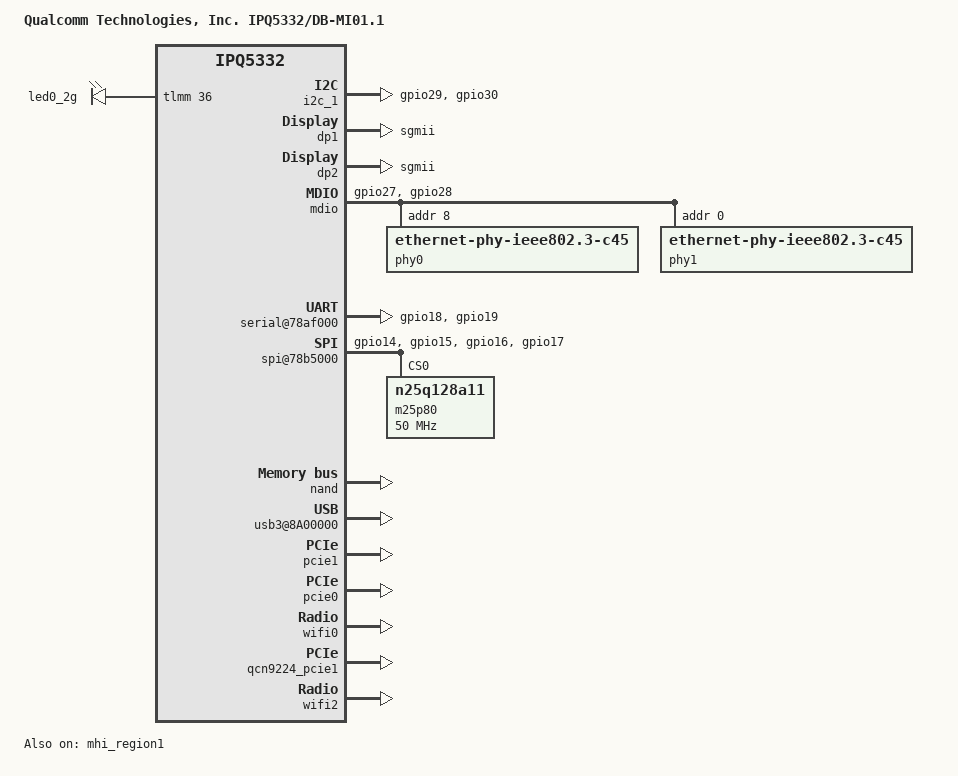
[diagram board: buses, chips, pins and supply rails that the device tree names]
// SPDX-License-Identifier: (GPL-2.0+ OR BSD-3-Clause)
/*
 * IPQ5332 DB-MI01.1 board device tree source
 *
 * Copyright (c) 2020-2021 The Linux Foundation. All rights reserved.
 * Copyright (c) 2022-2023 Qualcomm Innovation Center, Inc. All rights reserved.
 */

/dts-v1/;

#include "ipq5332.dtsi"

#ifdef __IPQ_MEM_PROFILE_512_MB__
#include "ipq5332-512MB-memory.dtsi"
#else
#include "ipq5332-default-memory.dtsi"
#endif

/ {
	#address-cells = <0x2>;
	#size-cells = <0x2>;
	model = "Qualcomm Technologies, Inc. IPQ5332/DB-MI01.1";
	compatible = "qcom,ipq5332-db-mi01.1", "qcom,ipq5332";
	interrupt-parent = <&intc>;

	aliases {
		serial0 = &blsp1_uart0;
		ethernet0 = "/soc/dp1";
		ethernet1 = "/soc/dp2";
	};

	chosen {
		stdout-path = "serial0";
		bootargs-append = " clk_ignore_unused";
	};

	soc {
		pinctrl@1000000 {
			spi_0_pins: spi0-pinmux {
				spi_clock {
					pins = "gpio14";
					function = "blsp0_spi";
					drive-strength = <8>;
					bias-pull-down;
				};

				spi_mosi {
					pins = "gpio15";
					function = "blsp0_spi";
					drive-strength = <8>;
					bias-pull-down;
				};

				spi_miso {
					pins = "gpio16";
					function = "blsp0_spi";
					drive-strength = <8>;
					bias-pull-down;
				};

				spi_cs {
					pins = "gpio17";
					function = "blsp0_spi";
					drive-strength = <8>;
					bias-pull-up;
				};
			};

			serial_0_pins: serial0-pinmux {
				pins = "gpio18", "gpio19";
				function = "blsp0_uart0";
				drive-strength = <8>;
				bias-pull-up;
			};

			leds_pins: leds_pinmux {
				led0_2g {
					pins = "gpio36";
					function = "gpio";
					drive-strength = <8>;
					bias-pull-down;
				};
			};

			i2c_1_pins: i2c-1-pinmux {
				pins = "gpio29", "gpio30";
				function = "blsp1_i2c0";
				drive-strength = <8>;
				bias-pull-up;
			};

			mdio1_pins: mdio_pinmux {
				mux_0 {
					pins = "gpio27";
					function = "mdc1";
					drive-strength = <8>;
					bias-disable;
				};
				mux_1 {
					pins = "gpio28";
					function = "mdio1";
					drive-strength = <8>;
					bias-pull-up;
				};
			};
		};

		i2c_1: i2c@78b6000 {
			pinctrl-0 = <&i2c_1_pins>;
			pinctrl-names = "default";
			status = "ok";
		};

		dp1 {
			device_type = "network";
			compatible = "qcom,nss-dp";
			qcom,id = <2>;
			reg = <0x3a504000 0x4000>;
			qcom,mactype = <1>;
			local-mac-address = [000000000000];
			qcom,phy-mdio-addr = <0>;
			qcom,link-poll = <1>;
			phy-mode = "sgmii";
		};

		dp2 {
			device_type = "network";
			compatible = "qcom,nss-dp";
			qcom,id = <1>;
			reg = <0x3a500000 0x4000>;
			qcom,mactype = <1>;
			local-mac-address = [000000000000];
			qcom,phy-mdio-addr = <8>;
			qcom,link-poll = <1>;
			phy-mode = "sgmii";
			qcom,ppe-offload-disabled = <1>;
			qcom,mht-dev = <1>;
		};

		mdio:mdio@90000 {
			status = "ok";
			pinctrl-0 = <&mdio1_pins>;
			pinctrl-names = "default";
			/*gpio22 and gpio24 for aqr reset*/
			//phy-reset-gpio = <&tlmm 22 0 &tlmm 24 0>;

			phy0: ethernet-phy@0 {
				reg = <8>;
				compatible ="ethernet-phy-ieee802.3-c45";
			};
			phy1: ethernet-phy@1 {
				reg = <0>;
				compatible ="ethernet-phy-ieee802.3-c45";
			};
		};

		ess-instance {
			ess-switch@3a000000 {
				switch_cpu_bmp = <0x1>;  /* cpu port bitmap */
				switch_lan_bmp = <0x2>; /* lan port bitmap */
				switch_wan_bmp = <0x4>; /* wan port bitmap */
				switch_mac_mode = <0xd>; /* mac mode for uniphy instance0*/
				switch_mac_mode1 = <0xd>; /* mac mode for uniphy instance1*/
				switch_mac_mode2 = <0xff>; /* mac mode for uniphy instance2*/
				qcom,port_phyinfo {
					port@0 {
						port_id = <1>;
						phy_address = <8>;
						ethernet-phy-ieee802.3-c45;
					};
					port@1 {
						port_id = <2>;
						phy_address = <0>;
						ethernet-phy-ieee802.3-c45;
					};
				};
			};
		};

		/* EDMA host driver configuration for the board */
		edma@3ab00000 {
			qcom,txdesc-ring-start = <4>;		/* Tx desc ring start ID */
			qcom,txdesc-rings = <12>;		/* Total number of Tx desc rings to be provisioned */
			qcom,mht-txdesc-rings = <8>;            /* Extra Tx desc rings to be provisioned for MHT SW ports. */
			qcom,txcmpl-ring-start = <4>;		/* Tx complete ring start ID */
			qcom,txcmpl-rings = <12>;		/* Total number of Tx complete rings to be provisioned */
			qcom,mht-txcmpl-rings = <8>;		/* Extra Tx complete rings to be provisioned for mht sw ports. */
			qcom,rxfill-ring-start = <4>;		/* Rx fill ring start ID */
			qcom,rxfill-rings = <4>;		/* Total number of Rx fill rings to be provisioned */
			qcom,rxdesc-ring-start = <12>;		/* Rx desc ring start ID */
			qcom,rxdesc-rings = <4>;		/* Total number of Rx desc rings to be provisioned */
			qcom,rx-page-mode = <0>;		/* Rx fill ring page mode */
			qcom,tx-map-priority-level = <1>;	/* Tx priority level per port */
			qcom,rx-map-priority-level = <1>;	/* Rx priority level per core */
			qcom,ppeds-num = <2>;			/* Number of PPEDS nodes */
			/* PPE-DS node format: <Rx-fill Tx-cmpl Rx Tx Queue-base Queue-count> */
			qcom,ppeds-map = <1 1 1 1 32 8>,	/* PPEDS Node #1 ring and queue map */
					<2 2 2 2 40 8>;		/* PPEDS Node #2 ring and queue map */
			qcom,txdesc-map = <8 9 10 11>,		/* Port0 per-core Tx ring map */
					  <12 13 14 15>,	/* MHT-Port1 per-core Tx ring map */
					  <4 5 6 7>,		/* MHT-Port2 per-core Tx ring map/packets from  vp*/
					  <16 17 18 19>,	/* MHT-Port3 per-core Tx ring map */
					  <20 21 22 23>;	/* MHT-Port4 per-core Tx ring map */
			qcom,txdesc-fc-grp-map = <1 2 3 4 5>;	/* Per GMAC flow control group map */
			qcom,rxfill-map = <4 5 6 7>;		/* Per-core Rx fill ring map */
			qcom,rxdesc-map = <12 13 14 15>;	/* Per-core Rx desc ring map */
			qcom,rx-queue-start = <0>;		/* Rx queue start */
			qcom,rx-ring-queue-map = <0 8 16 24>,	/* Priority 0 queues per-core Rx ring map */
						<1 9 17 25>,	/* Priority 1 queues per-core Rx ring map */
						<2 10 18 26>,	/* Priority 2 queues per-core Rx ring map */
						<3 11 19 27>,	/* Priority 3 queues per-core Rx ring map */
						<4 12 20 28>,	/* Priority 4 queues per-core Rx ring map */
						<5 13 21 29>,	/* Priority 5 queues per-core Rx ring map */
						<6 14 22 30>,	/* Priority 6 queues per-core Rx ring map */
						<7 15 23 31>;	/* Priority 7 queues per-core Rx ring map */
			interrupts = <0 163 4>,			/* Tx complete ring id #4 IRQ info */
				   <0 164 4>,			/* Tx complete ring id #5 IRQ info */
				   <0 165 4>,			/* Tx complete ring id #6 IRQ info */
				   <0 166 4>,			/* Tx complete ring id #7 IRQ info */
				   <0 167 4>,			/* Tx complete ring id #8 IRQ info */
				   <0 168 4>,			/* Tx complete ring id #9 IRQ info */
				   <0 169 4>,			/* Tx complete ring id #10 IRQ info */
				   <0 170 4>,			/* Tx complete ring id #11 IRQ info */
				   <0 171 4>,			/* Tx complete ring id #12 IRQ info */
				   <0 172 4>,			/* Tx complete ring id #13 IRQ info */
				   <0 173 4>,			/* Tx complete ring id #14 IRQ info */
				   <0 174 4>,			/* Tx complete ring id #15 IRQ info */
				   <0 139 4>,			/* Rx desc ring id #12 IRQ info */
				   <0 140 4>,			/* Rx desc ring id #13 IRQ info */
				   <0 141 4>,			/* Rx desc ring id #14 IRQ info */
				   <0 142 4>,			/* Rx desc ring id #15 IRQ info */
				   <0 191 4>,			/* Misc error IRQ info */
				<0 160 4>,			/* PPEDS Node #1(TxComp ring id #1) TxComplete IRQ info */
				<0 128 4>,			/* PPEDS Node #1(Rx Desc ring id #1) Rx Desc IRQ info */
				<0 152 4>,			/* PPEDS Node #1(RxFill Desc ring id #1) Rx Fill IRQ info */
				<0 161 4>,			/* PPEDS Node #2(TxComp ring id #2) TxComplete IRQ info */
				<0 129 4>,			/* PPEDS Node #2(Rx Desc ring id #2) Rx Desc IRQ info */
				<0 153 4>,			/* PPEDS Node #2(RxFill Desc ring id #2) Rx Fill IRQ info */
				   <0 175 4>,			/* MHT port Tx complete ring id #16 IRQ info */
				   <0 176 4>,			/* MHT port Tx complete ring id #17 IRQ info */
				   <0 177 4>,			/* MHT port Tx complete ring id #18 IRQ info */
				   <0 178 4>,			/* MHT port Tx complete ring id #19 IRQ info */
				   <0 179 4>,			/* MHT port Tx complete ring id #20 IRQ info */
				   <0 180 4>,			/* MHT port Tx complete ring id #21 IRQ info */
				   <0 181 4>,			/* MHT port Tx complete ring id #22 IRQ info */
				   <0 182 4>;			/* MHT port Tx complete ring id #23 IRQ info */
		};

		serial@78af000 {
			pinctrl-0 = <&serial_0_pins>;
			pinctrl-names = "default";
			status = "ok";
		};

		spi@78b5000 {
			pinctrl-0 = <&spi_0_pins>;
			pinctrl-names = "default";
			cs-select = <0>;
			status = "ok";

			m25p80@0 {
				compatible = "n25q128a11";
				#address-cells = <1>;
				#size-cells = <1>;
				reg = <0>;
				spi-max-frequency = <50000000>;
			};
		};

		dma@7984000 {
			status = "ok";
		};

		nand: nand@79b0000 {
			pinctrl-0 = <&qspi_nand_pins>;
			pinctrl-names = "default";
			status = "ok";
		};

		usb3@8A00000 {
			status = "ok";
			qcom,select-utmi-as-pipe-clk;
			dwc_0: dwc3@8A00000 {
				/delete-property/ #phy-cells;
				/delete-property/ phys;
				/delete-property/ phy-names;
			};
		};

		hs_m31phy_0: hs_m31phy@7b000 {
			status = "ok";
		};

		leds {
			compatible = "gpio-leds";
			pinctrl-0 = <&leds_pins>;
			pinctrl-names = "default";
			led@36 {
				label = "led0_2g";
				gpios = <&tlmm 36 GPIO_ACTIVE_HIGH>;
				linux,default-trigger = "led_2g";
				default-state = "off";
			};
		};

		pcie0_phy: phy@4b0000 {
			status = "ok";
		};

		pcie1_phy_x2: phy_x2@4b1000 {
			status = "ok";
		};

		pcie1: pcie@18000000 {
			status = "ok";
			pcie1_rp {
				reg = <0 0 0 0 0>;

				qcom,mhi@1 {
					reg = <0 0 0 0 0>;
					qrtr_node_id = <0x31>;
					qti,disable-rddm-prealloc;
					qti,rddm-seg-len = <0x1000>;
					memory-region = <0>, <&mhi_region1>;
				};
			};
		};

		pcie0: pcie@20000000 {
			status = "ok";
			pcie0_rp {
				reg = <0 0 0 0 0>;

				qcom,mhi@2 {
					reg = <0 0 0 0 0>;
				};
			};
		};
	};
};

&wifi0 {
	qcom,rproc = <&q6_wcss_pd1>;
	qcom,multipd_arch;
	qcom,userpd-subsys-name = "q6v5_wcss_userpd1";
	mem-region = <&q6_region>;
	qcom,board_id = <0x11>;
	status = "ok";
};

&mhi_region1 {
	status = "ok";
};

&qcn9224_pcie1 {
	status = "ok";
};

/* QCN9224 5G+6G */
&wifi2 {
	hremote_node = <&qcn9224_pcie1>;
	board_id = <0x1006>;
	status = "ok";
};
